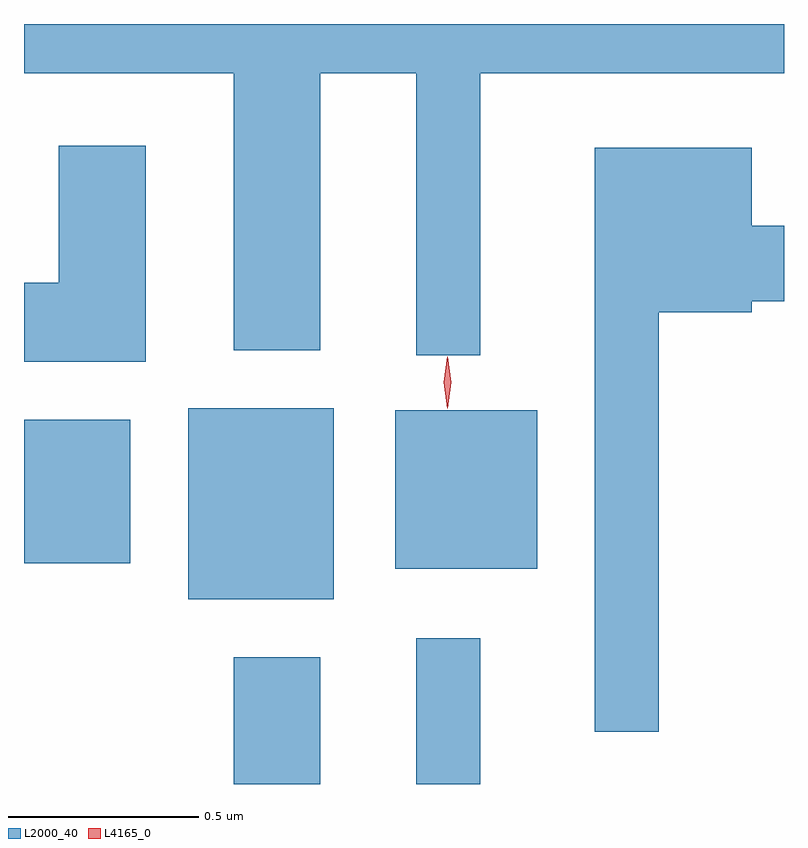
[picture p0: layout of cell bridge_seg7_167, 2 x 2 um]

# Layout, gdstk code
import gdstk
lib = gdstk.Library(unit=1e-6, precision=1e-09)
def R(c, l, rs):  # rectangles x0, y0, x1, y1
    for r in rs: c.add(gdstk.rectangle(r[:2], r[2:], *l))
def P(c, l, *ps):  # polygons
    for p in ps: c.add(gdstk.Polygon(p, *l))
L2000_40 = (2000, 40)
L4165_0 = (4165, 0)

bridge_seg7_167 = lib.new_cell('bridge_seg7_167')
R(bridge_seg7_167, L2000_40, [(1656.021,1730.205,1656.249,1730.539), (1656.501,1730.205,1656.669,1730.588), (1655.901,1730.691,1656.284,1731.194), (1656.446,1730.771,1656.819,1731.189), (1655.469,1730.786,1655.749,1731.164)])
P(bridge_seg7_167, L2000_40, [(1656.669,1732.076),(1657.469,1732.076),(1657.469,1732.205),(1655.469,1732.205),(1655.469,1732.076),(1656.021,1732.076),(1656.021,1731.346),(1656.249,1731.346),(1656.249,1732.076),(1656.501,1732.076),(1656.501,1731.333),(1656.669,1731.333)],
  [(1655.789,1731.884),(1655.561,1731.884),(1655.561,1731.524),(1655.469,1731.524),(1655.469,1731.316),(1655.789,1731.316)],
  [(1657.139,1731.446),(1657.384,1731.446),(1657.384,1731.476),(1657.469,1731.476),(1657.469,1731.674),(1657.384,1731.674),(1657.384,1731.879),(1656.971,1731.879),(1656.971,1730.343),(1657.139,1730.343)])
P(bridge_seg7_167, L4165_0, [(1656.583,1731.194),(1656.583,1731.194),(1656.573,1731.262),(1656.583,1731.33),(1656.583,1731.33),(1656.584,1731.33),(1656.593,1731.262),(1656.584,1731.194)],
  [(1656.583,1731.198),(1656.583,1731.198),(1656.573,1731.262),(1656.583,1731.327),(1656.583,1731.327),(1656.584,1731.327),(1656.593,1731.262),(1656.584,1731.198)])

lib.write_gds('bridge_seg7_167.gds')
